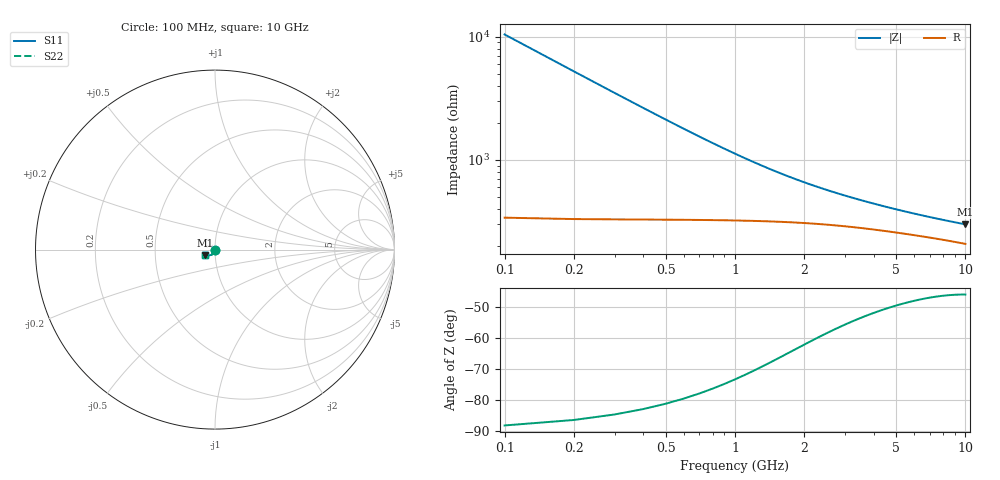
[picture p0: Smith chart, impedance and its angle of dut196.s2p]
! Touchstone file exported from HFSS 2024.1.0
!  File:  C:/UserFiles/LocalFiles/RDL_TSV_Batchsim/temp_TSV1_196_1778757040.aedt
!  Generated:  07:14:51 PM May 14, 2026
!  Design:  TSV1
!  Project:  temp_TSV1_196_1778757040
!  Setup:  Setup1
!  Solution:  Sweep
! Variables:
!  dtsv = 21.36um
!  hbump = 3um
!  htsv = 58.73um
!  lrdl = 252.1521522um
!  p = 40
!  p1 = 57.81um
!  t = 500um
!  trdl = 3um
!  wrdl = 24.89489489um
# GHz S MA R 50.000000
! Terminal data exported
! Port[1] = TSV22_T1
! Port[2] = TSV22_T2
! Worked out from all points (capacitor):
!   100 points, 100 MHz to 10 GHz, reference 50 ohm
!   read as one part in shunt: C = 152 fF near 100 MHz
!   lowest |Z| = 300 ohm at 10 GHz (marker M1)
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0.1  0.002122 -90.4  0.9999 -0.2  0.9999 -0.2  0.002122 -90.4
! Gamma 0 0 0 0
! Port Impedance 50 0 50 0
0.2  0.004232 -93.3  0.9996 -0.3  0.9996 -0.3  0.004232 -93.3
0.3  0.00632 -95.6  0.9992 -0.5  0.9992 -0.5  0.00632 -95.6
0.4  0.008378 -97.8  0.9987 -0.6  0.9987 -0.6  0.008378 -97.8
0.5  0.01039 -99.9  0.998 -0.7  0.998 -0.7  0.01039 -99.9
0.6  0.01236 -101.9  0.9972 -0.9  0.9972 -0.9  0.01236 -101.9
0.7  0.01428 -103.8  0.9963 -1.0  0.9963 -1.0  0.01428 -103.8
0.8  0.01613 -105.7  0.9953 -1.1  0.9953 -1.1  0.01613 -105.7
0.9  0.01792 -107.5  0.9943 -1.2  0.9943 -1.2  0.01792 -107.5
1.1  0.02129 -110.9  0.992 -1.5  0.992 -1.5  0.02129 -110.9
1.4  0.02583 -115.5  0.9885 -1.7  0.9885 -1.7  0.02583 -115.5
1.6  0.02853 -118.3  0.9862 -1.9  0.9862 -1.9  0.02853 -118.3
1.8  0.03097 -120.8  0.9839 -2.0  0.9839 -2.0  0.03097 -120.8
2.1  0.03424 -124.1  0.9807 -2.2  0.9807 -2.2  0.03424 -124.1
2.5  0.03795 -127.8  0.9768 -2.4  0.9768 -2.4  0.03795 -127.8
2.9  0.04109 -130.9  0.9732 -2.6  0.9732 -2.6  0.04109 -130.9
3.4  0.04442 -134.0  0.9694 -2.8  0.9694 -2.8  0.04442 -134.0
4.2  0.04878 -137.9  0.9641 -3.1  0.9641 -3.1  0.04878 -137.9
5.1  0.05272 -141.1  0.9592 -3.3  0.9592 -3.3  0.05272 -141.1
6.7  0.05805 -145.4  0.9525 -3.8  0.9525 -3.8  0.05805 -145.4
8.4  0.06209 -148.6  0.9474 -4.2  0.9474 -4.2  0.06209 -148.6
10  0.06482 -150.8  0.9439 -4.6  0.9439 -4.6  0.06482 -150.8
